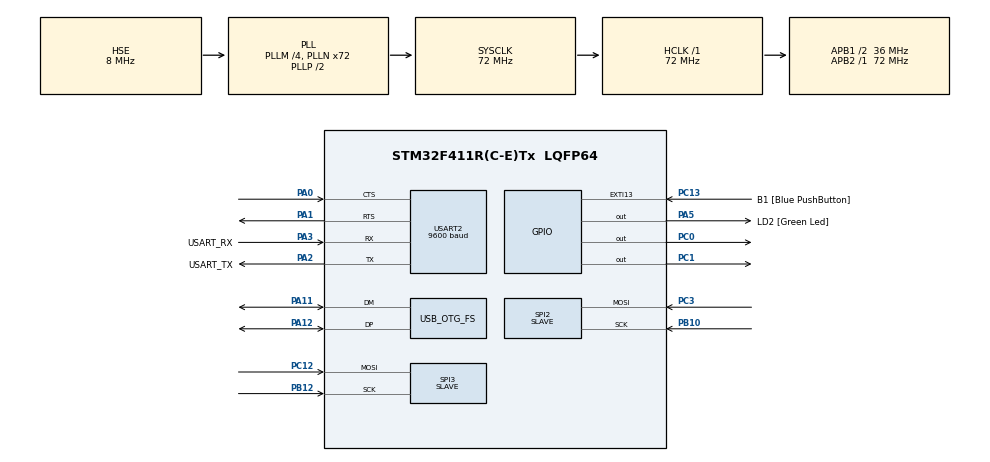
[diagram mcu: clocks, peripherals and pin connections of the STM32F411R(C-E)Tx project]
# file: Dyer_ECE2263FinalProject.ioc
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Mcu.Family=STM32F4
Mcu.Name=STM32F411R(C-E)Tx
Mcu.Package=LQFP64
NVIC.EXTI15_10_IRQn=true\:0\:0\:false\:false\:true\:true\:true
NVIC.OTG_FS_IRQn=true\:0\:0\:false\:false\:true\:false\:true
NVIC.PriorityGroup=NVIC_PRIORITYGROUP_0
PA0-WKUP.Mode=CTS_RTS
PA0-WKUP.Signal=USART2_CTS
PA1.Mode=CTS_RTS
PA1.Signal=USART2_RTS
PA11.Mode=Device_Only
PA11.Signal=USB_OTG_FS_DM
PA12.Mode=Device_Only
PA12.Signal=USB_OTG_FS_DP
PA13.GPIO_Label=TMS
PA13.Mode=Serial_Wire
PA13.Signal=SYS_JTMS-SWDIO
PA14.GPIO_Label=TCK
PA14.Mode=Serial_Wire
PA14.Signal=SYS_JTCK-SWCLK
PA2.GPIO_Label=USART_TX
PA2.Mode=Asynchronous
PA2.Signal=USART2_TX
PA3.GPIO_Label=USART_RX
PA3.Mode=Asynchronous
PA3.Signal=USART2_RX
PA5.GPIO_Label=LD2 [Green Led]
PA5.GPIO_PuPd=GPIO_NOPULL
PA5.Signal=GPIO_Output
PB10.Mode=RX_Only_Simplex_Unidirect_Slave
PB10.Signal=SPI2_SCK
PB12.Mode=RX_Only_Simplex_Unidirect_Slave
PB12.Signal=SPI3_SCK
PB3.GPIO_Label=SWO
PB3.Signal=SYS_JTDO-SWO
PC0.Signal=GPIO_Output
PC1.Signal=GPIO_Output
PC12.Mode=RX_Only_Simplex_Unidirect_Slave
PC12.Signal=SPI3_MOSI
PC13-ANTI_TAMP.GPIO_Label=B1 [Blue PushButton]
PC13-ANTI_TAMP.GPIO_ModeDefaultEXTI=GPIO_MODE_IT_FALLING
PC13-ANTI_TAMP.Signal=GPXTI13
PC14-OSC32_IN.Mode=LSE-External-Oscillator
PC14-OSC32_IN.Signal=RCC_OSC32_IN
PC15-OSC32_OUT.Mode=LSE-External-Oscillator
PC15-OSC32_OUT.Signal=RCC_OSC32_OUT
PC3.Mode=RX_Only_Simplex_Unidirect_Slave
PC3.Signal=SPI2_MOSI
PH0\ -\ OSC_IN.Mode=HSE-External-Clock-Source
PH0\ -\ OSC_IN.Signal=RCC_OSC_IN
PH1\ -\ OSC_OUT.Mode=HSE-External-Clock-Source
PH1\ -\ OSC_OUT.Signal=RCC_OSC_OUT
ProjectManager.HeapSize=0x1000
ProjectManager.StackSize=0x400
ProjectManager.TargetToolchain=STM32CubeIDE
RCC.48MHZClocksFreq_Value=48000000
RCC.AHBFreq_Value=72000000
RCC.APB1CLKDivider=RCC_HCLK_DIV2
RCC.APB1Freq_Value=36000000
RCC.APB1TimFreq_Value=72000000
RCC.APB2Freq_Value=72000000
RCC.APB2TimFreq_Value=72000000
RCC.CortexFreq_Value=72000000
RCC.FLatency-AdvancedSettings=FLASH_LATENCY_2
RCC.HCLKFreq_Value=72000000
RCC.HSE_VALUE=8000000
RCC.HSI_VALUE=16000000
RCC.PLLM=4
RCC.PLLN=72
RCC.PLLQ=3
RCC.SYSCLKFreq_VALUE=72000000
RCC.SYSCLKSource=RCC_SYSCLKSOURCE_PLLCLK
RCC.VCOOutputFreq_Value=144000000
SPI2.Direction=SPI_DIRECTION_2LINES_RXONLY
SPI2.Mode=SPI_MODE_SLAVE
SPI2.VirtualType=VM_SLAVE
SPI3.Direction=SPI_DIRECTION_2LINES_RXONLY
SPI3.Mode=SPI_MODE_SLAVE
SPI3.VirtualType=VM_SLAVE
USART2.BaudRate=9600
USART2.VirtualMode=VM_ASYNC
USB_DEVICE.CLASS_NAME_FS=HID
USB_DEVICE.PRODUCT_STRING_HID_FS=STM32 Keyboard
USB_DEVICE.VirtualMode=Hid
USB_DEVICE.VirtualModeFS=Hid_FS
USB_OTG_FS.VirtualMode=Device_Only
VP_USB_DEVICE_VS_USB_DEVICE_HID_FS.Mode=HID_FS
board=NUCLEO-F411RE

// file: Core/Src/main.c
/* USER CODE BEGIN Header */
/**
  ******************************************************************************
  * @file           : main.c
  * @brief          : Main program body
  ******************************************************************************
  * @attention
  *
  * <h2><center>&copy; Copyright (c) 2021 STMicroelectronics.
  * All rights reserved.</center></h2>
  *
  * This software component is licensed by ST under BSD 3-Clause license,
  * the "License"; You may not use this file except in compliance with the
  * License. You may obtain a copy of the License at:
  *                        opensource.org/licenses/BSD-3-Clause
  *
  ******************************************************************************
  */
/* USER CODE END Header */
#include "main.h"
#include "usb_device.h"

/* USER CODE BEGIN Includes */

#include "string.h"
#include "stdlib.h"
#include "stdio.h"
#include "stdint.h"
#include "usbd_hid.h"

/* USER CODE END Includes */

/* USER CODE BEGIN PTD */

typedef struct
{
	uint8_t MODIFIER;
	uint8_t RESERVED;
	uint8_t KEYCODE1;
	uint8_t KEYCODE2;
	uint8_t KEYCODE3;
	uint8_t KEYCODE4;
	uint8_t KEYCODE5;
	uint8_t KEYCODE6;

} keyboardHID;

keyboardHID keyboard = {0,0,0,0,0,0,0,0};

extern USBD_HandleTypeDef hUsbDeviceFS;

/* USER CODE END PTD */

/* USER CODE BEGIN PD */

#define TIMEOUT_VALUE 50
#define DELAYTIME 250

/* USER CODE END PD */

SPI_HandleTypeDef hspi2;
SPI_HandleTypeDef hspi3;

UART_HandleTypeDef huart2;

/* USER CODE BEGIN PV */

int buttonState = 0;
char buff[20];
char buff2[20];
char newline[] = "\r\n";

/* USER CODE END PV */

void SystemClock_Config(void);
static void MX_GPIO_Init(void);
static void MX_USART2_UART_Init(void);
static void MX_SPI2_Init(void);
static void MX_SPI3_Init(void);
/* USER CODE BEGIN PFP */

void sendKeystroke(int keycode);

/* USER CODE END PFP */

int main(void)
{

  /* MCU Configuration--------------------------------------------------------*/

  /* Reset of all peripherals, Initializes the Flash interface and the Systick. */
  HAL_Init();

  /* Configure the system clock */
  SystemClock_Config();

  /* Initialize all configured peripherals */
  MX_GPIO_Init();
  MX_USART2_UART_Init();
  MX_USB_DEVICE_Init();
  MX_SPI2_Init();
  MX_SPI3_Init();
  /* USER CODE BEGIN 2 */

  HAL_Delay(1000);

  /* USER CODE END 2 */

  /* Infinite loop */
  /* USER CODE BEGIN WHILE */
  while (1)
  {
	  HAL_GPIO_WritePin(GPIOC, GPIO_PIN_0, 0);
	  HAL_GPIO_WritePin(GPIOC, GPIO_PIN_1, 0);

	  if(buttonState == 1)
	  {
		  HAL_GPIO_WritePin(GPIOC, GPIO_PIN_0, 1);
		  HAL_GPIO_WritePin(GPIOC, GPIO_PIN_1, 1);
		  HAL_Delay(1000);
		  HAL_GPIO_WritePin(GPIOC, GPIO_PIN_0, 0);
		  HAL_GPIO_WritePin(GPIOC, GPIO_PIN_1, 0);

		  buttonState = 0;
	  }

	  HAL_SPI_Receive(&hspi2, (uint8_t *)buff, 1, TIMEOUT_VALUE);
	  HAL_Delay(50);
	  HAL_SPI_Receive(&hspi3, (uint8_t *)buff2, 1, TIMEOUT_VALUE);

	  //HAL_UART_Transmit(&huart2, (uint8_t *)buff2, strlen(buff2), HAL_MAX_DELAY);
	  //HAL_UART_Transmit(&huart2, (uint8_t *)newline, strlen(newline), HAL_MAX_DELAY);

	  //TOP HALF OF KEYBOARD CHECKS

	  if(buff[0] == '1'){
		  sendKeystroke(0x59);
		  strcpy(buff, "");
		  HAL_Delay(DELAYTIME);
	  }
	  if(buff[0] == '2'){
		  sendKeystroke(0x5A);
		  strcpy(buff, "");
		  HAL_Delay(DELAYTIME);
	  }
	  if(buff[0] == '3'){
		  sendKeystroke(0x5B);
		  strcpy(buff, "");
		  HAL_Delay(DELAYTIME);
	  }
	  if(buff[0] == '4'){
		  sendKeystroke(0x5C);
		  strcpy(buff, "");
		  HAL_Delay(DELAYTIME);
	  }
	  if(buff[0] == '5'){
		  sendKeystroke(0x5D);
		  strcpy(buff, "");
		  HAL_Delay(DELAYTIME);
	  }
	  if(buff[0] == '6'){
		  sendKeystroke(0x5E);
		  strcpy(buff, "");
		  HAL_Delay(DELAYTIME);
	  }

	  //BOTTOM HALF OF KEYPAD CHECKS

	  if(buff2[0] == '7'){
		  sendKeystroke(0x5F);
		  strcpy(buff2, "");
		  HAL_Delay(DELAYTIME);
	  }
	  if(buff2[0] == '8'){
		  sendKeystroke(0x60);
		  strcpy(buff2, "");
		  HAL_Delay(DELAYTIME);
	  }
	  if(buff2[0] == '9'){
		  sendKeystroke(0x61);
		  strcpy(buff2, "");
		  HAL_Delay(DELAYTIME);
	  }
	  if(buff2[0] == '0'){
		  sendKeystroke(0x62);
		  strcpy(buff2, "");
		  HAL_Delay(DELAYTIME);
	  }
	  if(buff2[0] == '*'){
		  sendKeystroke(0x55);
		  strcpy(buff2, "");
		  HAL_Delay(DELAYTIME);
	  }
	  if(buff2[0] == '#'){		//this one is different because some computers do not support the keypad # code so I had to use left shift and 3

		  keyboard.MODIFIER = 0x02;
		  keyboard.KEYCODE1 = 0x20;
		  USBD_HID_SendReport(&hUsbDeviceFS, (uint8_t*)&keyboard, sizeof(keyboard));
		  HAL_Delay(50);

		  keyboard.MODIFIER = 0x00;
		  keyboard.KEYCODE1 = 0x00;
		  USBD_HID_SendReport(&hUsbDeviceFS, (uint8_t*)&keyboard, sizeof(keyboard));
		  HAL_Delay(50);

		  strcpy(buff2, "");
		  HAL_Delay(DELAYTIME);
	  }
	  else{
		  strcpy(buff, "");
		  strcpy(buff2, "");
	  }

    /* USER CODE END WHILE */

  }
}

void SystemClock_Config(void)
{
  RCC_OscInitTypeDef RCC_OscInitStruct = {0};
  RCC_ClkInitTypeDef RCC_ClkInitStruct = {0};

  /** Configure the main internal regulator output voltage
  */
  __HAL_RCC_PWR_CLK_ENABLE();
  __HAL_PWR_VOLTAGESCALING_CONFIG(PWR_REGULATOR_VOLTAGE_SCALE1);
  /** Initializes the RCC Oscillators according to the specified parameters
  * in the RCC_OscInitTypeDef structure.
  */
  RCC_OscInitStruct.OscillatorType = RCC_OSCILLATORTYPE_HSE;
  RCC_OscInitStruct.HSEState = RCC_HSE_BYPASS;
  RCC_OscInitStruct.PLL.PLLState = RCC_PLL_ON;
  RCC_OscInitStruct.PLL.PLLSource = RCC_PLLSOURCE_HSE;
  RCC_OscInitStruct.PLL.PLLM = 4;
  RCC_OscInitStruct.PLL.PLLN = 72;
  RCC_OscInitStruct.PLL.PLLP = RCC_PLLP_DIV2;
  RCC_OscInitStruct.PLL.PLLQ = 3;
  if (HAL_RCC_OscConfig(&RCC_OscInitStruct) != HAL_OK)
  {
    Error_Handler();
  }
  /** Initializes the CPU, AHB and APB buses clocks
  */
  RCC_ClkInitStruct.ClockType = RCC_CLOCKTYPE_HCLK|RCC_CLOCKTYPE_SYSCLK
                              |RCC_CLOCKTYPE_PCLK1|RCC_CLOCKTYPE_PCLK2;
  RCC_ClkInitStruct.SYSCLKSource = RCC_SYSCLKSOURCE_PLLCLK;
  RCC_ClkInitStruct.AHBCLKDivider = RCC_SYSCLK_DIV1;
  RCC_ClkInitStruct.APB1CLKDivider = RCC_HCLK_DIV2;
  RCC_ClkInitStruct.APB2CLKDivider = RCC_HCLK_DIV1;

  if (HAL_RCC_ClockConfig(&RCC_ClkInitStruct, FLASH_LATENCY_2) != HAL_OK)
  {
    Error_Handler();
  }
}

static void MX_SPI2_Init(void)
{

  /* SPI2 parameter configuration*/
  hspi2.Instance = SPI2;
  hspi2.Init.Mode = SPI_MODE_SLAVE;
  hspi2.Init.Direction = SPI_DIRECTION_2LINES_RXONLY;
  hspi2.Init.DataSize = SPI_DATASIZE_8BIT;
  hspi2.Init.CLKPolarity = SPI_POLARITY_LOW;
  hspi2.Init.CLKPhase = SPI_PHASE_1EDGE;
  hspi2.Init.NSS = SPI_NSS_SOFT;
  hspi2.Init.FirstBit = SPI_FIRSTBIT_MSB;
  hspi2.Init.TIMode = SPI_TIMODE_DISABLE;
  hspi2.Init.CRCCalculation = SPI_CRCCALCULATION_DISABLE;
  hspi2.Init.CRCPolynomial = 10;
  if (HAL_SPI_Init(&hspi2) != HAL_OK)
  {
    Error_Handler();
  }

}

static void MX_SPI3_Init(void)
{

  /* SPI3 parameter configuration*/
  hspi3.Instance = SPI3;
  hspi3.Init.Mode = SPI_MODE_SLAVE;
  hspi3.Init.Direction = SPI_DIRECTION_2LINES_RXONLY;
  hspi3.Init.DataSize = SPI_DATASIZE_8BIT;
  hspi3.Init.CLKPolarity = SPI_POLARITY_LOW;
  hspi3.Init.CLKPhase = SPI_PHASE_1EDGE;
  hspi3.Init.NSS = SPI_NSS_SOFT;
  hspi3.Init.FirstBit = SPI_FIRSTBIT_MSB;
  hspi3.Init.TIMode = SPI_TIMODE_DISABLE;
  hspi3.Init.CRCCalculation = SPI_CRCCALCULATION_DISABLE;
  hspi3.Init.CRCPolynomial = 10;
  if (HAL_SPI_Init(&hspi3) != HAL_OK)
  {
    Error_Handler();
  }

}

static void MX_USART2_UART_Init(void)
{

  huart2.Instance = USART2;
  huart2.Init.BaudRate = 9600;
  huart2.Init.WordLength = UART_WORDLENGTH_8B;
  huart2.Init.StopBits = UART_STOPBITS_1;
  huart2.Init.Parity = UART_PARITY_NONE;
  huart2.Init.Mode = UART_MODE_TX_RX;
  huart2.Init.HwFlowCtl = UART_HWCONTROL_RTS_CTS;
  huart2.Init.OverSampling = UART_OVERSAMPLING_16;
  if (HAL_UART_Init(&huart2) != HAL_OK)
  {
    Error_Handler();
  }

}

static void MX_GPIO_Init(void)
{
  GPIO_InitTypeDef GPIO_InitStruct = {0};

  /* GPIO Ports Clock Enable */
  __HAL_RCC_GPIOC_CLK_ENABLE();
  __HAL_RCC_GPIOH_CLK_ENABLE();
  __HAL_RCC_GPIOA_CLK_ENABLE();
  __HAL_RCC_GPIOB_CLK_ENABLE();

  /*Configure GPIO pin Output Level */
  HAL_GPIO_WritePin(GPIOC, GPIO_PIN_0|GPIO_PIN_1, GPIO_PIN_RESET);

  /*Configure GPIO pin Output Level */
  HAL_GPIO_WritePin(LD2_GPIO_Port, LD2_Pin, GPIO_PIN_RESET);

  /*Configure GPIO pin : B1_Pin */
  GPIO_InitStruct.Pin = B1_Pin;
  GPIO_InitStruct.Mode = GPIO_MODE_IT_FALLING;
  GPIO_InitStruct.Pull = GPIO_NOPULL;
  HAL_GPIO_Init(B1_GPIO_Port, &GPIO_InitStruct);

  /*Configure GPIO pins : PC0 PC1 */
  GPIO_InitStruct.Pin = GPIO_PIN_0|GPIO_PIN_1;
  GPIO_InitStruct.Mode = GPIO_MODE_OUTPUT_PP;
  GPIO_InitStruct.Pull = GPIO_NOPULL;
  GPIO_InitStruct.Speed = GPIO_SPEED_FREQ_LOW;
  HAL_GPIO_Init(GPIOC, &GPIO_InitStruct);

  /*Configure GPIO pin : LD2_Pin */
  GPIO_InitStruct.Pin = LD2_Pin;
  GPIO_InitStruct.Mode = GPIO_MODE_OUTPUT_PP;
  GPIO_InitStruct.Pull = GPIO_NOPULL;
  GPIO_InitStruct.Speed = GPIO_SPEED_FREQ_LOW;
  HAL_GPIO_Init(LD2_GPIO_Port, &GPIO_InitStruct);

  /* EXTI interrupt init*/
  HAL_NVIC_SetPriority(EXTI15_10_IRQn, 0, 0);
  HAL_NVIC_EnableIRQ(EXTI15_10_IRQn);

}

/* USER CODE BEGIN 4 */

void sendKeystroke(int keycode)
{
	keyboard.KEYCODE1 = keycode;
	USBD_HID_SendReport(&hUsbDeviceFS, (uint8_t*)&keyboard, sizeof(keyboard));
	HAL_Delay(50);

	keyboard.KEYCODE1 = 0x00;
	USBD_HID_SendReport(&hUsbDeviceFS, (uint8_t*)&keyboard, sizeof(keyboard));
	HAL_Delay(50);
}

/* USER CODE END 4 */

void Error_Handler(void)
{
  __disable_irq();
  while (1)
  {
  }
}

/************************ (C) COPYRIGHT STMicroelectronics *****END OF FILE****/
